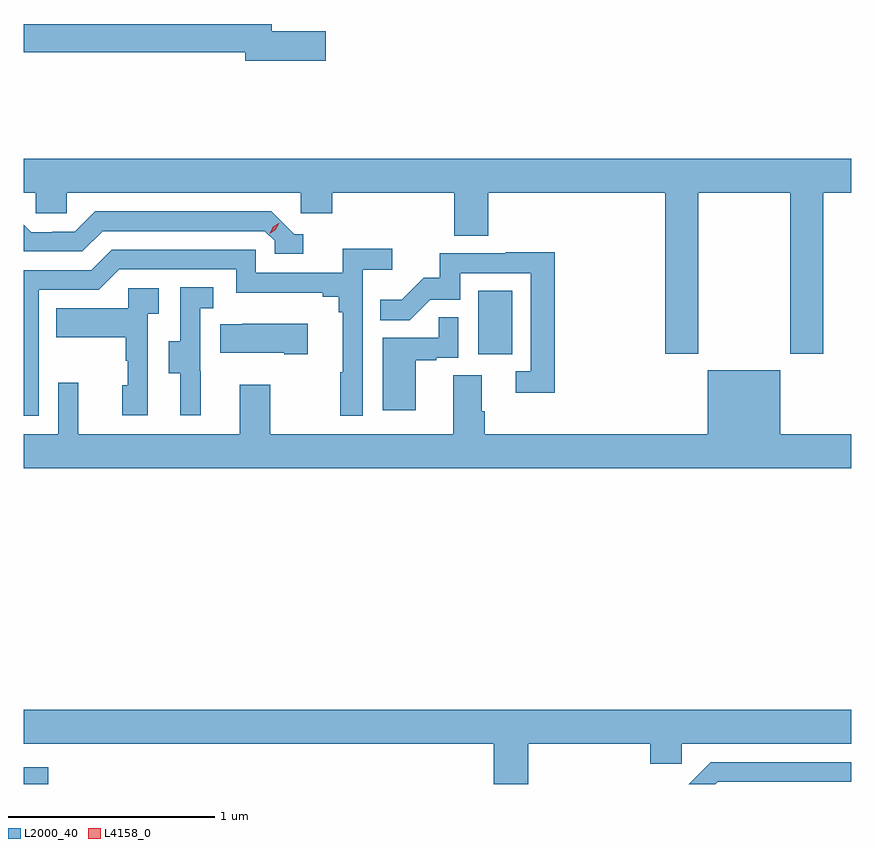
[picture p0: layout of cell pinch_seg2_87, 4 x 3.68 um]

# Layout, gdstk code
import gdstk
lib = gdstk.Library(unit=1e-6, precision=1e-09)
def R(c, l, rs):  # rectangles x0, y0, x1, y1
    for r in rs: c.add(gdstk.rectangle(r[:2], r[2:], *l))
def P(c, l, *ps):  # polygons
    for p in ps: c.add(gdstk.Polygon(p, *l))
L2000_40 = (2000, 40)
L4158_0 = (4158, 0)

pinch_seg2_87 = lib.new_cell('pinch_seg2_87')
R(pinch_seg2_87, L2000_40, [(1077.804,639.449,1077.922,639.529), (1080.002,641.526,1080.166,641.833)])
P(pinch_seg2_87, L2000_40, [(1079.263,643.088),(1079.002,643.088),(1079.002,643.124),(1077.804,643.124),(1077.804,642.988),(1078.874,642.988),(1078.874,642.946),(1079.263,642.946)],
  [(1081.065,642.308),(1081.51,642.308),(1081.51,641.529),(1081.67,641.529),(1081.67,642.308),(1081.804,642.308),(1081.804,642.472),(1077.804,642.472),(1077.804,642.308),(1077.861,642.308),(1077.861,642.21),(1078.011,642.21),(1078.011,642.308),(1079.142,642.308),(1079.142,642.21),(1079.294,642.21),(1079.294,642.308),(1079.885,642.308),(1079.885,642.1),(1080.05,642.1),(1080.05,642.308),(1080.905,642.308),(1080.905,641.529),(1081.065,641.529)],
  [(1079.155,642.108),(1079.112,642.108),(1079.001,642.219),(1078.148,642.219),(1078.049,642.12),(1077.942,642.12),(1077.942,642.117),(1077.839,642.117),(1077.804,642.153),(1077.804,642.024),(1078.086,642.024),(1078.185,642.123),(1078.968,642.123),(1079.016,642.075),(1079.016,642.012),(1079.155,642.012)],
  [(1077.876,641.838),(1078.167,641.838),(1078.266,641.937),(1078.83,641.937),(1078.83,641.825),(1079.249,641.825),(1079.249,641.806),(1079.326,641.806),(1079.326,641.729),(1079.345,641.729),(1079.345,641.441),(1079.334,641.441),(1079.334,641.229),(1079.442,641.229),(1079.442,641.936),(1079.584,641.936),(1079.584,642.038),(1079.345,642.038),(1079.345,641.922),(1078.926,641.922),(1078.926,642.033),(1078.229,642.033),(1078.13,641.934),(1077.804,641.934),(1077.804,641.229),(1077.876,641.229)],
  [(1080.371,642.02),(1080.133,642.02),(1080.133,642.015),(1079.815,642.015),(1079.815,641.898),(1079.738,641.898),(1079.631,641.791),(1079.527,641.791),(1079.527,641.692),(1079.671,641.692),(1079.769,641.79),(1079.913,641.79),(1079.913,641.919),(1080.255,641.919),(1080.255,641.445),(1080.183,641.445),(1080.183,641.34),(1080.371,641.34)],
  [(1078.658,641.445),(1078.656,641.445),(1078.656,641.749),(1078.72,641.749),(1078.72,641.852),(1078.56,641.852),(1078.56,641.589),(1078.505,641.589),(1078.505,641.434),(1078.559,641.434),(1078.559,641.232),(1078.658,641.232)],
  [(1078.404,641.723),(1078.456,641.723),(1078.456,641.847),(1078.308,641.847),(1078.308,641.749),(1077.961,641.749),(1077.961,641.609),(1078.296,641.609),(1078.296,641.495),(1078.306,641.495),(1078.306,641.376),(1078.28,641.376),(1078.28,641.232),(1078.404,641.232)],
  [(1079.698,641.499),(1079.798,641.499),(1079.798,641.511),(1079.904,641.511),(1079.904,641.705),(1079.809,641.705),(1079.809,641.607),(1079.54,641.607),(1079.54,641.256),(1079.698,641.256)],
  [(1079.176,641.674),(1078.861,641.674),(1078.861,641.671),(1078.753,641.671),(1078.753,641.534),(1079.063,641.534),(1079.063,641.527),(1079.176,641.527)],
  [(1081.804,641.14),(1081.462,641.14),(1081.462,641.449),(1081.112,641.449),(1081.112,641.14),(1080.032,641.14),(1080.032,641.252),(1080.019,641.252),(1080.019,641.426),(1079.879,641.426),(1079.879,641.14),(1078.995,641.14),(1078.995,641.38),(1078.847,641.38),(1078.847,641.14),(1078.067,641.14),(1078.067,641.389),(1077.969,641.389),(1077.969,641.14),(1077.804,641.14),(1077.804,640.976),(1081.804,640.976)],
  [(1080.242,639.644),(1080.833,639.644),(1080.833,639.546),(1080.984,639.546),(1080.984,639.644),(1081.804,639.644),(1081.804,639.808),(1077.804,639.808),(1077.804,639.644),(1080.077,639.644),(1080.077,639.449),(1080.242,639.449)],
  [(1081.158,639.459),(1081.804,639.459),(1081.804,639.555),(1081.125,639.555),(1081.019,639.449),(1081.148,639.449)])
P(pinch_seg2_87, L4158_0, [(1078.992,642.109),(1078.992,642.109),(1079.008,642.142),(1079.038,642.162),(1079.038,642.162),(1079.038,642.162),(1079.023,642.129),(1078.992,642.109)])

lib.write_gds('pinch_seg2_87.gds')
